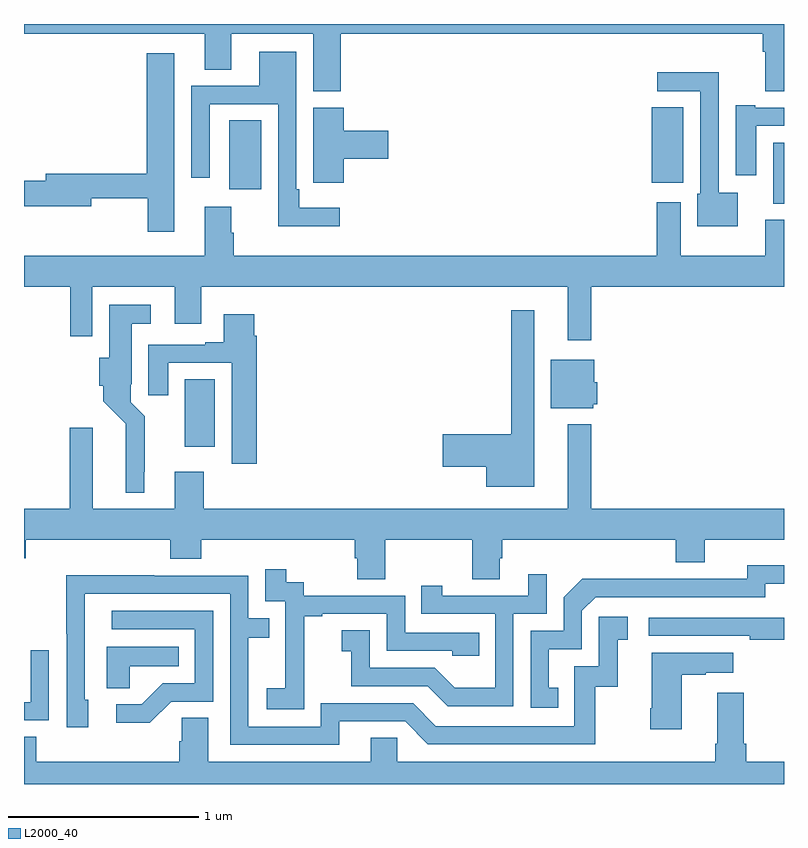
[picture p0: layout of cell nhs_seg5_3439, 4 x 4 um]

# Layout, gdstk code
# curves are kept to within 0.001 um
import gdstk
lib = gdstk.Library(unit=1e-6, precision=1e-09)
def R(c, l, rs):  # rectangles x0, y0, x1, y1
    for r in rs: c.add(gdstk.rectangle(r[:2], r[2:], *l))
def P(c, l, *ps):  # polygons
    for p in ps: c.add(gdstk.Polygon(p, *l))
L2000_40 = (2000, 40)

nhs_seg5_3439 = lib.new_cell('nhs_seg5_3439')
R(nhs_seg5_3439, L2000_40, [(313.847,866.574,314.005,866.93), (316.943,867.854,317,868.174), (314.081,867.93,314.248,868.292), (316.304,867.963,316.471,868.361)])
P(nhs_seg5_3439, L2000_40, [(314.666,868.748),(316.889,868.748),(316.889,868.652),(316.901,868.652),(316.901,868.444),(317,868.444),(317,868.799),(313,868.799),(313,868.748),(313.952,868.748),(313.952,868.558),(314.092,868.558),(314.092,868.748),(314.522,868.748),(314.522,868.444),(314.666,868.444)],
  [(314.662,867.832),(314.449,867.832),(314.449,867.928),(314.433,867.928),(314.433,868.654),(314.237,868.654),(314.237,868.473),(313.881,868.473),(313.881,867.99),(313.977,867.99),(313.977,868.377),(314.337,868.377),(314.337,867.734),(314.662,867.734)],
  [(313.792,868.645),(313.646,868.645),(313.646,868.01),(313.115,868.01),(313.115,867.974),(313,867.974),(313,867.839),(313.354,867.839),(313.354,867.882),(313.651,867.882),(313.651,867.705),(313.792,867.705)],
  [(316.756,867.91),(316.656,867.91),(316.656,868.544),(316.332,868.544),(316.332,868.446),(316.56,868.446),(316.56,867.906),(316.544,867.906),(316.544,867.734),(316.756,867.734)],
  [(316.855,868.263),(317,868.263),(317,868.359),(316.849,868.359),(316.849,868.372),(316.745,868.372),(316.745,868.002),(316.855,868.002)],
  [(314.684,868.091),(314.917,868.091),(314.917,868.238),(314.684,868.238),(314.684,868.359),(314.522,868.359),(314.522,868.075),(314.523,868.075),(314.523,867.963),(314.684,867.963)],
  [(315.985,867.416),(317,867.416),(317,867.769),(316.901,867.769),(316.901,867.58),(316.456,867.58),(316.456,867.862),(316.331,867.862),(316.331,867.58),(314.105,867.58),(314.105,867.701),(314.092,867.701),(314.092,867.838),(313.952,867.838),(313.952,867.58),(313,867.58),(313,867.416),(313.243,867.416),(313.243,867.156),(313.359,867.156),(313.359,867.416),(313.793,867.416),(313.793,867.222),(313.933,867.222),(313.933,867.416),(315.863,867.416),(315.863,867.135),(315.985,867.135)],
  [(313.633,866.443),(313.636,866.443),(313.636,866.735),(313.563,866.808),(313.563,866.902),(313.567,866.902),(313.567,867.221),(313.666,867.221),(313.666,867.322),(313.448,867.322),(313.448,867.042),(313.397,867.042),(313.397,866.894),(313.418,866.894),(313.418,866.814),(313.536,866.696),(313.535,866.333),(313.633,866.333)],
  [(315.685,867.292),(315.564,867.292),(315.564,866.639),(315.204,866.639),(315.204,866.468),(315.434,866.468),(315.434,866.363),(315.685,866.363)],
  [(314.225,867.158),(314.212,867.158),(314.212,867.271),(314.051,867.271),(314.051,867.124),(313.955,867.124),(313.955,867.111),(313.655,867.111),(313.655,866.844),(313.759,866.844),(313.759,867.015),(314.093,867.015),(314.093,866.484),(314.225,866.484)],
  [(315.996,866.799),(316.018,866.799),(316.018,866.913),(316,866.913),(316,867.031),(315.773,867.031),(315.773,866.777),(315.996,866.777)],
  [(314.901,866.084),(315.358,866.084),(315.358,865.876),(315.505,865.876),(315.505,865.986),(315.518,865.986),(315.518,866.084),(316.43,866.084),(316.43,865.967),(316.582,865.967),(316.582,866.084),(317,866.084),(317,866.248),(315.985,866.248),(315.985,866.692),(315.863,866.692),(315.863,866.248),(313.946,866.248),(313.946,866.443),(313.793,866.443),(313.793,866.248),(313.363,866.248),(313.363,866.674),(313.241,866.674),(313.241,866.248),(313,866.248),(313,865.988),(313.01,865.988),(313.01,866.084),(313.769,866.084),(313.769,865.985),(313.934,865.985),(313.934,866.084),(314.741,866.084),(314.741,865.986),(314.753,865.986),(314.753,865.876),(314.901,865.876)],
  [(315.812,865.305),(315.763,865.305),(315.763,865.509),(315.936,865.509),(315.936,865.71),(316.008,865.782),(316.902,865.782),(316.902,865.854),(317,865.854),(317,865.951),(316.806,865.951),(316.806,865.878),(316.346,865.878),(316.346,865.88),(315.938,865.88),(315.84,865.782),(315.84,865.605),(315.666,865.605),(315.666,865.2),(315.812,865.2)],
  [(314.475,865.399),(314.474,865.399),(314.474,865.683),(314.569,865.683),(314.569,865.695),(314.91,865.695),(314.91,865.5),(315.255,865.5),(315.255,865.473),(315.395,865.473),(315.395,865.596),(315.006,865.596),(315.006,865.791),(314.472,865.791),(314.472,865.86),(314.38,865.86),(314.38,865.93),(314.271,865.93),(314.271,865.761),(314.376,865.761),(314.376,865.532),(314.375,865.532),(314.375,865.303),(314.277,865.303),(314.277,865.193),(314.475,865.193)],
  [(315.576,865.695),(315.75,865.695),(315.75,865.903),(315.653,865.903),(315.653,865.791),(315.202,865.791),(315.202,865.843),(315.091,865.843),(315.091,865.695),(315.48,865.695),(315.48,865.306),(315.266,865.306),(315.162,865.41),(314.82,865.41),(314.82,865.609),(314.673,865.609),(314.673,865.499),(314.722,865.499),(314.722,865.314),(315.125,865.314),(315.23,865.209),(315.576,865.209)],
  [(314.659,865.128),(315.006,865.128),(315.126,865.008),(316.006,865.008),(316.006,865.311),(316.124,865.311),(316.124,865.557),(316.177,865.557),(316.177,865.678),(316.026,865.678),(316.026,865.419),(315.897,865.419),(315.897,865.104),(315.168,865.104),(315.048,865.224),(314.562,865.224),(314.562,865.101),(314.181,865.101),(314.181,865.57),(314.291,865.57),(314.291,865.671),(314.181,865.671),(314.181,865.896),(313.685,865.896),(313.685,865.898),(313.222,865.898),(313.222,865.591),(313.224,865.591),(313.224,865.098),(313.339,865.098),(313.339,865.242),(313.32,865.242),(313.32,865.8),(314.085,865.8),(314.085,865.005),(314.659,865.005)],
  [(313.776,865.233),(313.995,865.233),(313.995,865.71),(313.461,865.71),(313.461,865.614),(313.899,865.614),(313.899,865.329),(313.73,865.329),(313.619,865.218),(313.485,865.218),(313.485,865.121),(313.663,865.121)],
  [(317,865.674),(316.287,865.674),(316.287,865.578),(316.819,865.578),(316.819,865.558),(317,865.558)],
  [(313.557,865.418),(313.814,865.418),(313.814,865.522),(313.436,865.522),(313.436,865.303),(313.557,865.303)],
  [(313.131,865.504),(313.035,865.504),(313.035,865.23),(313,865.23),(313,865.134),(313.131,865.134)],
  [(316.462,865.375),(316.589,865.375),(316.589,865.385),(316.732,865.385),(316.732,865.489),(316.304,865.489),(316.304,865.198),(316.297,865.198),(316.297,865.086),(316.462,865.086)],
  [(317,864.916),(316.802,864.916),(316.802,865.012),(316.789,865.012),(316.789,865.279),(316.649,865.279),(316.649,865.012),(316.637,865.012),(316.637,864.916),(314.964,864.916),(314.964,865.043),(314.825,865.043),(314.825,864.916),(313.969,864.916),(313.969,865.148),(313.83,865.148),(313.83,865.025),(313.817,865.025),(313.817,864.916),(313.064,864.916),(313.064,865.049),(313,865.049),(313,864.799),(317,864.799)])

lib.write_gds('nhs_seg5_3439.gds')
